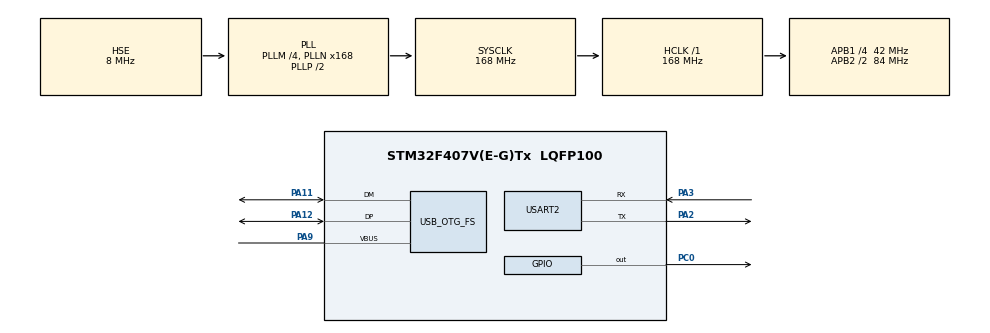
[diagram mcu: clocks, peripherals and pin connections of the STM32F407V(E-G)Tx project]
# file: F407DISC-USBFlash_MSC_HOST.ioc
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FATFS._FS_EXFAT=1
FATFS._MAX_SS=4096
FATFS._USE_LFN=1
Mcu.Family=STM32F4
Mcu.Name=STM32F407V(E-G)Tx
Mcu.Package=LQFP100
NVIC.OTG_FS_IRQn=true\:0\:0\:false\:false\:true\:false\:true\:true
NVIC.PriorityGroup=NVIC_PRIORITYGROUP_4
PA11.Mode=Host_Only
PA11.Signal=USB_OTG_FS_DM
PA12.Mode=Host_Only
PA12.Signal=USB_OTG_FS_DP
PA13.Mode=Serial_Wire
PA13.Signal=SYS_JTMS-SWDIO
PA14.Mode=Serial_Wire
PA14.Signal=SYS_JTCK-SWCLK
PA2.Mode=Asynchronous
PA2.Signal=USART2_TX
PA3.Mode=Asynchronous
PA3.Signal=USART2_RX
PA9.Mode=Activate_VBUS
PA9.Signal=USB_OTG_FS_VBUS
PC0.PinState=GPIO_PIN_RESET
PC0.Signal=GPIO_Output
PH0-OSC_IN.Mode=HSE-External-Oscillator
PH0-OSC_IN.Signal=RCC_OSC_IN
PH1-OSC_OUT.Mode=HSE-External-Oscillator
PH1-OSC_OUT.Signal=RCC_OSC_OUT
ProjectManager.HeapSize=0x200
ProjectManager.StackSize=0x400
ProjectManager.TargetToolchain=STM32CubeIDE
RCC.48MHZClocksFreq_Value=48000000
RCC.AHBFreq_Value=168000000
RCC.APB1CLKDivider=RCC_HCLK_DIV4
RCC.APB1Freq_Value=42000000
RCC.APB1TimFreq_Value=84000000
RCC.APB2CLKDivider=RCC_HCLK_DIV2
RCC.APB2Freq_Value=84000000
RCC.APB2TimFreq_Value=168000000
RCC.CortexFreq_Value=168000000
RCC.HCLKFreq_Value=168000000
RCC.HSE_VALUE=8000000
RCC.HSI_VALUE=16000000
RCC.LSE_VALUE=32768
RCC.PLLM=4
RCC.PLLN=168
RCC.PLLQ=7
RCC.SYSCLKFreq_VALUE=168000000
RCC.SYSCLKSource=RCC_SYSCLKSOURCE_PLLCLK
RCC.VCOOutputFreq_Value=336000000
USART2.VirtualMode=VM_ASYNC
USB_HOST.BSP.number=1
USB_HOST.USBH_HandleTypeDef-MSC_FS=hUsbHostFS
USB_HOST.VirtualModeFS=Msc
USB_HOST0.BSP.STBoard=false
USB_HOST0.BSP.api=Unknown
USB_HOST0.BSP.condition=SW_VBUS_DRIVE_MSC_FS \= false
USB_HOST0.BSP.instance=PC0
USB_HOST0.BSP.ip=GPIO
USB_HOST0.BSP.mode=Output
USB_HOST0.BSP.name=Drive_VBUS_FS
USB_HOST0.BSP.solution=PC0
USB_OTG_FS.VirtualMode=Host_Only
USB_OTG_FS.phy_itface=HCD_PHY_EMBEDDED
VP_FATFS_VS_USB.Mode=USB
VP_USB_HOST_VS_USB_HOST_MSC_FS.Mode=MSC_FS
board=custom

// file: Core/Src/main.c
/* USER CODE BEGIN Header */
/**
  ******************************************************************************
  * @file           : main.c
  * @brief          : Main program body
  ******************************************************************************
  * @attention
  *
  * Copyright (c) 2025 STMicroelectronics.
  * All rights reserved.
  *
  * This software is licensed under terms that can be found in the LICENSE file
  * in the root directory of this software component.
  * If no LICENSE file comes with this software, it is provided AS-IS.
  *
  ******************************************************************************
  */
/* USER CODE END Header */
#include "main.h"
#include "fatfs.h"
#include "usb_host.h"

/* USER CODE BEGIN Includes */
#include "File_Handling.h"
/* USER CODE END Includes */

UART_HandleTypeDef huart2;

void SystemClock_Config(void);
static void MX_GPIO_Init(void);
static void MX_USART2_UART_Init(void);
void MX_USB_HOST_Process(void);

/* USER CODE BEGIN 0 */
extern ApplicationTypeDef Appli_state;
/* USER CODE END 0 */

int main(void)
{

  /* MCU Configuration--------------------------------------------------------*/

  /* Reset of all peripherals, Initializes the Flash interface and the Systick. */
  HAL_Init();

  /* Configure the system clock */
  SystemClock_Config();

  /* Initialize all configured peripherals */
  MX_GPIO_Init();
  MX_FATFS_Init();
  MX_USB_HOST_Init();
  MX_USART2_UART_Init();
  /* USER CODE BEGIN 2 */
  while(1)
  {
	  MX_USB_HOST_Process();
	  if (Appli_state == APPLICATION_READY)
	  {
		  break;
	  }
  }

  if (Appli_state == APPLICATION_READY) // ana is parcacigi
  {
	  Mount_USB();

	  Check_USB_Details();   // check space details

	  Scan_USB("/");   // scan for files and directories

	  Create_File("/ROOTFILE.txt");
	  Write_File("/ROOTFILE.txt", "This data should be in root file\n");

	  Create_Dir("/DIR1");
	  Create_File("/DIR1/DIR1FILE.txt");
	  Write_File("/DIR1/DIR1FILE.txt", "This data should be in DIR1 file\n");

	  Create_Dir("/DIR2");
	  Create_Dir("/DIR2/SUBDIR1");
	  Create_File("/DIR2/SUBDIR1/DIR2FILE.txt");
	  Write_File("/DIR2/SUBDIR1/DIR2FILE.txt", "This data should be in DIR2/SUBDIR1 file\n as i have nothing better to write/n so i just wrote this\n");

	  Update_File("/ROOTFILE.txt", "This updated data must be in second line of Root File\n");
  }
  /* USER CODE END 2 */

  /* Infinite loop */
  while (1)
  {
    //MX_USB_HOST_Process();

  }
}

void SystemClock_Config(void)
{
  RCC_OscInitTypeDef RCC_OscInitStruct = {0};
  RCC_ClkInitTypeDef RCC_ClkInitStruct = {0};

  /** Configure the main internal regulator output voltage
  */
  __HAL_RCC_PWR_CLK_ENABLE();
  __HAL_PWR_VOLTAGESCALING_CONFIG(PWR_REGULATOR_VOLTAGE_SCALE1);

  /** Initializes the RCC Oscillators according to the specified parameters
  * in the RCC_OscInitTypeDef structure.
  */
  RCC_OscInitStruct.OscillatorType = RCC_OSCILLATORTYPE_HSE;
  RCC_OscInitStruct.HSEState = RCC_HSE_ON;
  RCC_OscInitStruct.PLL.PLLState = RCC_PLL_ON;
  RCC_OscInitStruct.PLL.PLLSource = RCC_PLLSOURCE_HSE;
  RCC_OscInitStruct.PLL.PLLM = 4;
  RCC_OscInitStruct.PLL.PLLN = 168;
  RCC_OscInitStruct.PLL.PLLP = RCC_PLLP_DIV2;
  RCC_OscInitStruct.PLL.PLLQ = 7;
  if (HAL_RCC_OscConfig(&RCC_OscInitStruct) != HAL_OK)
  {
    Error_Handler();
  }

  /** Initializes the CPU, AHB and APB buses clocks
  */
  RCC_ClkInitStruct.ClockType = RCC_CLOCKTYPE_HCLK|RCC_CLOCKTYPE_SYSCLK
                              |RCC_CLOCKTYPE_PCLK1|RCC_CLOCKTYPE_PCLK2;
  RCC_ClkInitStruct.SYSCLKSource = RCC_SYSCLKSOURCE_PLLCLK;
  RCC_ClkInitStruct.AHBCLKDivider = RCC_SYSCLK_DIV1;
  RCC_ClkInitStruct.APB1CLKDivider = RCC_HCLK_DIV4;
  RCC_ClkInitStruct.APB2CLKDivider = RCC_HCLK_DIV2;

  if (HAL_RCC_ClockConfig(&RCC_ClkInitStruct, FLASH_LATENCY_5) != HAL_OK)
  {
    Error_Handler();
  }
}

static void MX_USART2_UART_Init(void)
{

  huart2.Instance = USART2;
  huart2.Init.BaudRate = 115200;
  huart2.Init.WordLength = UART_WORDLENGTH_8B;
  huart2.Init.StopBits = UART_STOPBITS_1;
  huart2.Init.Parity = UART_PARITY_NONE;
  huart2.Init.Mode = UART_MODE_TX_RX;
  huart2.Init.HwFlowCtl = UART_HWCONTROL_NONE;
  huart2.Init.OverSampling = UART_OVERSAMPLING_16;
  if (HAL_UART_Init(&huart2) != HAL_OK)
  {
    Error_Handler();
  }

}

static void MX_GPIO_Init(void)
{
  GPIO_InitTypeDef GPIO_InitStruct = {0};

  /* GPIO Ports Clock Enable */
  __HAL_RCC_GPIOH_CLK_ENABLE();
  __HAL_RCC_GPIOC_CLK_ENABLE();
  __HAL_RCC_GPIOA_CLK_ENABLE();

  /*Configure GPIO pin Output Level */
  HAL_GPIO_WritePin(GPIOC, GPIO_PIN_0, GPIO_PIN_RESET);

  /*Configure GPIO pin : PC0 */
  GPIO_InitStruct.Pin = GPIO_PIN_0;
  GPIO_InitStruct.Mode = GPIO_MODE_OUTPUT_PP;
  GPIO_InitStruct.Pull = GPIO_NOPULL;
  GPIO_InitStruct.Speed = GPIO_SPEED_FREQ_LOW;
  HAL_GPIO_Init(GPIOC, &GPIO_InitStruct);

}

void Error_Handler(void)
{
  __disable_irq();
  while (1)
  {
  }
}
